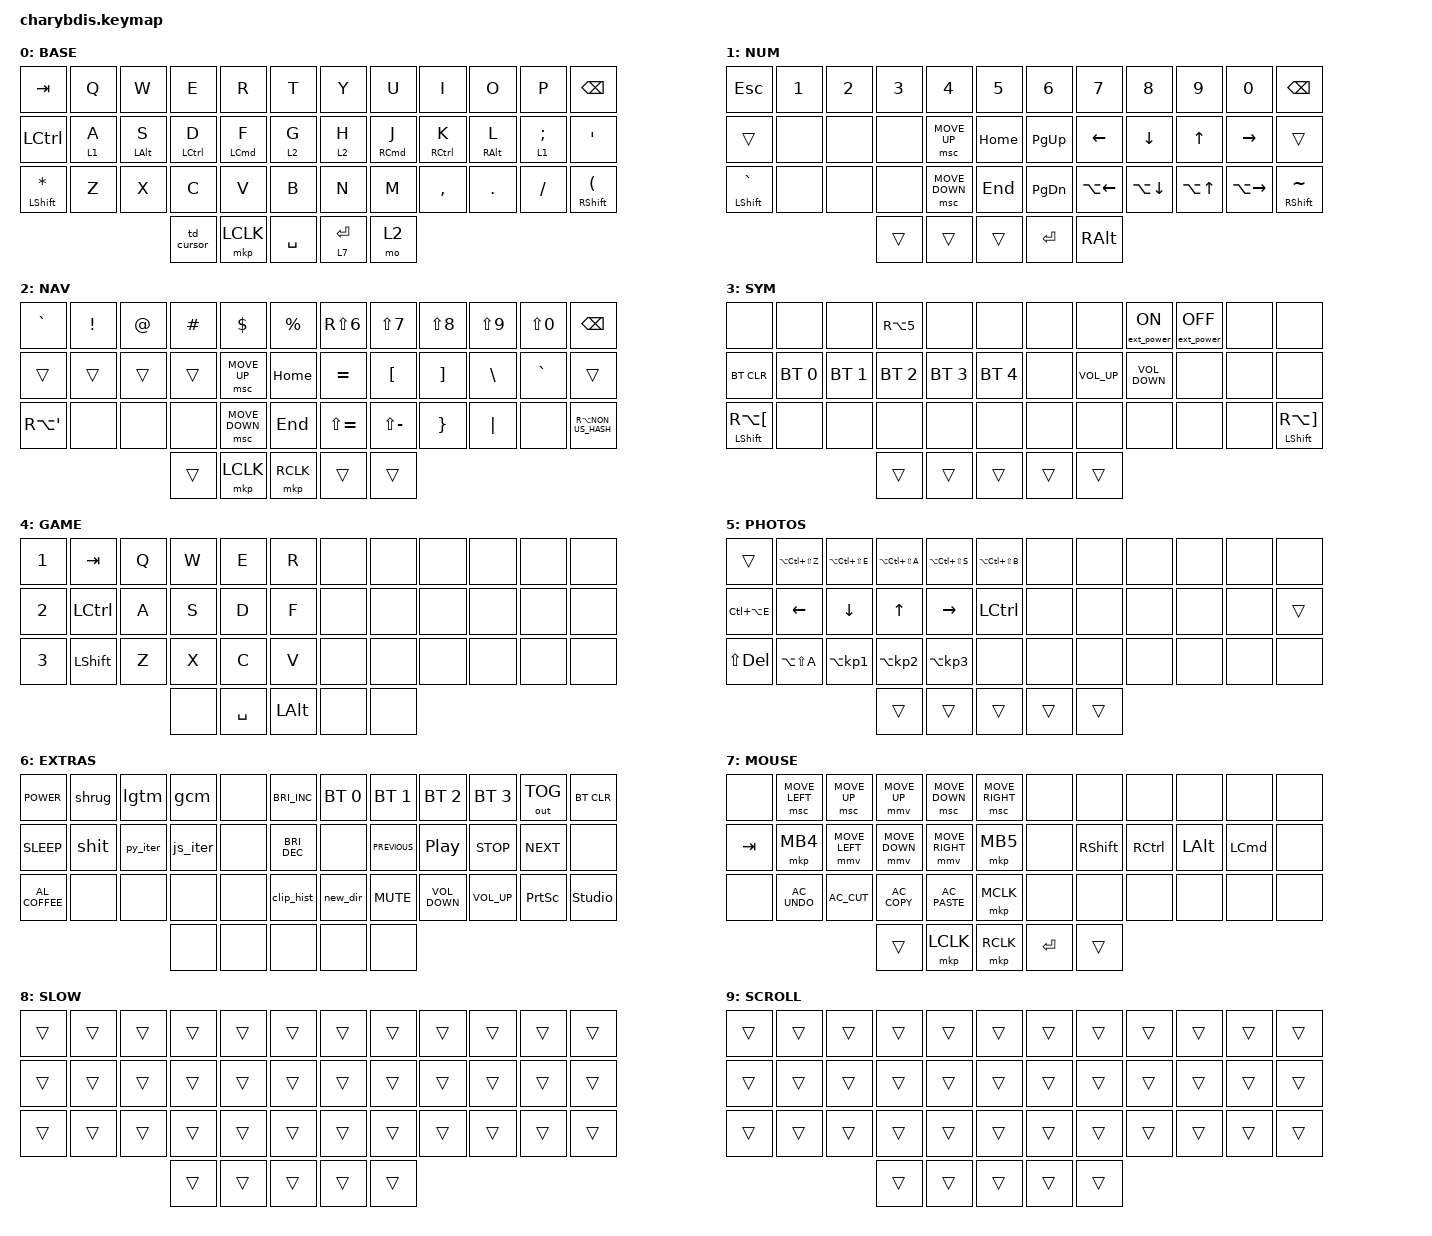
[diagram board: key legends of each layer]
#include <behaviors.dtsi>
#include <dt-bindings/zmk/bt.h>
#include <dt-bindings/zmk/keys.h>
#include <dt-bindings/zmk/mouse.h>
#include <dt-bindings/zmk/outputs.h>
#include <behaviors/mouse_keys.dtsi>
#include <dt-bindings/zmk/ext_power.h>
#include "macros.dtsi"

// / {
//     chosen { zmk,matrix_transform = &default_transform; };
// };

/ {
    conditional_layers {
        compatible = "zmk,conditional-layers";

        Third_Layer {
            if-layers = <1 2>;
            then-layer = <3>;
            if-layers = <2 1>;
            then-layer = <3>;
        };
    };

    /* input config for mouse move mode */
    trackball_listener {
        compatible = "zmk,input-behavior-listener";
        device = <&vtrackball>;
        layers = <0 2 7>;
        evt-type = <INPUT_EV_REL>;
        x-input-code = <INPUT_REL_X>;
        y-input-code = <INPUT_REL_Y>;
        scale-multiplier = <1>;
        scale-divisor = <2>;
        // bindings = <&ib_toggle_layer 7>;
    };

    /* input config for snipe mode */
    trackball_snipe_listener {
        compatible = "zmk,input-behavior-listener";   
        device = <&vtrackball>;
        layers = <8>;
        evt-type = <INPUT_EV_REL>;
        x-input-code = <INPUT_REL_X>;
        y-input-code = <INPUT_REL_Y>;
        scale-multiplier = <1>;
        scale-divisor = <4>;
    };

    /* input config for mouse scroll mode */
    trackball_scroll_listener {
        compatible = "zmk,input-behavior-listener";
        device = <&vtrackball>;
        layers = <9>;
        evt-type = <INPUT_EV_REL>;            
        x-input-code = <INPUT_REL_MISC>;
        y-input-code = <INPUT_REL_WHEEL>;
        y-invert;
        bindings = <&ib_wheel_scaler 1 14>;
    };

    /* define a resolution down scaler only for INPUT_REL_WHEEL */
    ib_wheel_scaler: ib_wheel_scaler {
        compatible = "zmk,input-behavior-scaler";
        #binding-cells = <2>;
        evt-type = <INPUT_EV_REL>;
        input-code = <INPUT_REL_WHEEL>;
    };

    /* adjust cooldown waiting period for mouse key layer after activated */
    ib_toggle_layer: ib_toggle_layer {
        compatible = "zmk,input-behavior-tog-layer";
        #binding-cells = <1>;
        time-to-live-ms = <750>;
    };

    behaviors {
        hm: homerow_mod {
            compatible = "zmk,behavior-hold-tap";
            #binding-cells = <2>;
            flavor = "tap-preferred";
            tapping-term-ms = <175>; // triggers the hold behavior when the tapping-term-ms has expired
            quick-tap-ms = <150>; // If you press a tapped hold-tap again within quick-tap-ms milliseconds of the first press, it will always trigger the tap behavior.
            require-prior-idle-ms = <185>; // like quick-tap-ms however it will apply for any non-modifier key pressed before it
            bindings = <&kp>, <&kp>;  // hold, tap
        };

        td_cursor: td_scroll_or_cursor {
            compatible = "zmk,behavior-tap-dance";
            #binding-cells = <0>;
            bindings = <&lt 9 ESC>, <&to 8>; // hold, tap, double_tap
        };

        httl: ht_two_layers {
            compatible = "zmk,behavior-hold-tap";
            bindings = <&mo>, <&to>;
            #binding-cells = <2>;
            flavor = "balanced";
            tapping-term-ms = <125>;
        };

        td_layers: td_layer_swap {
            compatible = "zmk,behavior-tap-dance";
            #binding-cells = <0>;
            bindings = <&to 0>, <&to 1>, <&to 2>; // tap, double_tap, tripple_tap
        };

        td_clk_scrl: td_click_or_scroll {
            compatible = "zmk,behavior-tap-dance";
            #binding-cells = <0>;
            tapping-term-ms = <250>;
            bindings = <&mkp RCLK>, <&mo 9>;  // tap/hold, double_tap
        };

        td_bore: BASE_or_EXTRA {
            compatible = "zmk,behavior-tap-dance";
            #binding-cells = <0>;
            bindings = <&mo 6>, <&to 0>;
        };
    };

    combos {
        compatible = "zmk,combos";

        CapsWord {
            bindings = <&caps_word>;
            key-positions = <17 18>;
            layers = <0>;
        };

        MiddleClick {
            bindings = <&mkp MCLK>;
            key-positions = <28 37>;
        };

        RightClick {
            bindings = <&mkp RCLK>;
            key-positions = <16 37>;
        };

        BASE_or_EXTRAS {
            bindings = <&td_bore>;
            key-positions = <38 39>;
        };

        // GameLayer {
        //     bindings = <&tog 4>;
        //     key-positions = <8 9>;
        // };

        // PhotoLayer {
        //     bindings = <&tog 5>;
        //     key-positions = <2 3>;
        // };
    };

// ╭──────┬──────┬──────┬──────┬──────┬──────╮  ╭──────┬──────┬──────┬──────┬──────┬──────╮
//    00     01     02     03    04      05        06     07     08     09     10     11
// ├──────┼──────┼──────┼──────┼──────┼──────┤  ├──────┼──────┼──────┼──────┼──────┼──────┤
//    12     13     14     15    16      17        18     19     20     21     22     23
// ├──────┼──────┼──────┼──────┼──────┼──────┤  ├──────┼──────┼──────┼──────┼──────┼──────┤
//    24     25     26     27    28      29        30     31     32     33     34     35
// ╰──────┴──────┴──────┼──────┼──────┼──────┤  ├──────┼──────┼──────┴──────┴──────┴──────╯
//                         36     37     38        39     40
//                      ╰──────┴──────┴──────╯  ╰──────┴──────╯

#define BASE    0
#define NUM     1
#define NAV     2
#define SYM     3
#define GAME    4
#define PHOTOS  5
#define EXTRAS  6
#define MOUSE   7
#define SLOW    8
#define SCROLL  9

    keymap {
        compatible = "zmk,keymap";
        BASE {
            bindings = <
// ╭────────────────┬──────────────┬─────────────────────────┬─────────────────────────────┬──────────────────┬──────────────────╮  ╭────────────────┬─────────────────┬──────────────────────────────────┬──────────────────────────────┬────────────────────────┬──────────────╮
    &kp TAB              &kp Q              &kp W                      &kp E                     &kp R              &kp T                 &kp Y           &kp U                   &kp I                             &kp O                        &kp P               &kp BACKSPACE
// ├────────────────┼──────────────┼─────────────────────────┼─────────────────────────────┼──────────────────┼──────────────────┤  ├────────────────┼─────────────────┼──────────────────────────────────┼──────────────────────────────┼────────────────────────┼──────────────┤
    &kp LCTRL            &lt 1 A          &hm LEFT_ALT S               &hm LCTRL D               &hm LCMD F        &lt 2 G                 &lt 2 H        &hm RCMD J              &hm RCTRL K                       &hm RIGHT_ALT L              &lt 1 SEMICOLON      &kp SQT
// ├────────────────┼──────────────┼─────────────────────────┼─────────────────────────────┼──────────────────┼──────────────────┤  ├────────────────┼─────────────────┼──────────────────────────────────┼──────────────────────────────┼────────────────────────┼──────────────┤
    &mt LEFT_SHIFT STAR  &kp Z              &kp X                      &kp C                     &kp V              &kp B                 &kp N           &kp M                   &kp COMMA                         &kp DOT                      &kp FSLH           &mt RSHIFT LPAR
// ╰────────────────┴──────────────┴─────────────────────────┼─────────────────────────────┼──────────────────┼──────────────────┤  ├────────────────┼─────────────────┼──────────────────────────────────┴──────────────────────────────┴────────────────────────┴──────────────╯
                                                                               &td_cursor    &mkp LCLK          &kp SPACE               &lt 7 ENTER     &mo 2
                                                                          // ╰─────────────┴──────────────────┴──────────────────╯  ╰────────────────┴──────────────╯
            >;
        };

        NUM {
            bindings = <
&kp ESCAPE &kp N1 &kp N2 &kp N3 &kp N4 &kp N5                       &kp N6 &kp N7 &kp N8 &kp N9 &kp N0 &kp BACKSPACE
&trans &none &none &none               &msc MOVE_UP &kp HOME        &kp PAGE_UP &kp LEFT_ARROW &kp DOWN_ARROW &kp UP_ARROW &kp RIGHT      &trans
&mt LEFT_SHIFT GRAVE &none &none &none &msc MOVE_DOWN &kp END       &kp PAGE_DOWN  &kp LA(LEFT_ARROW)  &kp LA(DOWN_ARROW)  &kp LA(UP_ARROW)  &kp LA(RIGHT)  &mt RIGHT_SHIFT TILDE
                            &trans &trans &trans                    &kp ENTER &kp RIGHT_ALT
            >;
        };

        NAV {
            bindings = <
&kp GRAVE     &kp EXCL  &kp AT  &kp HASH  &kp DOLLAR  &kp PERCENT             &kp RS(N6)     &kp LS(N7)        &kp LS(N8)         &kp LS(NUMBER_9)  &kp LS(N0)  &kp BACKSPACE
&trans        &trans    &trans  &trans    &msc MOVE_UP  &kp HOME          &kp EQUAL      &kp LEFT_BRACKET  &kp RIGHT_BRACKET  &kp BACKSLASH     &kp GRAVE   &trans
&kp RA(APOS)  &none     &none   &none     &msc MOVE_DOWN &kp END       &kp LS(EQUAL)  &kp LS(MINUS)     &kp RIGHT_BRACE    &kp PIPE          &none       &kp RA(NON_US_HASH)
                                &trans    &mkp LCLK   &mkp RCLK               &trans         &trans
            >;
        };

        SYM {
            bindings = <
&none                &none         &none         &kp RA(NUMBER_5)  &none         &none           &none   &none            &ext_power EP_ON   &ext_power EP_OFF  &none  &none
&bt BT_CLR           &bt BT_SEL 0  &bt BT_SEL 1  &bt BT_SEL 2      &bt BT_SEL 3  &bt BT_SEL 4    &none   &kp C_VOLUME_UP  &kp C_VOLUME_DOWN  &none              &none  &none
&mt LSHIFT RA(LBKT)  &none         &none         &none             &none         &none           &none   &none            &none              &none              &none  &mt LSHIFT RA(RBKT)
                                                 &trans            &trans        &trans          &trans  &trans
            >;
        };

        GAME {
            bindings = <
&kp N1  &kp TAB    &kp Q  &kp W   &kp E      &kp R           &none  &none  &none  &none  &none  &none
&kp N2  &kp LCTRL  &kp A  &kp S   &kp D      &kp F           &none  &none  &none  &none  &none  &none
&kp N3  &kp LSHFT  &kp Z  &kp X   &kp C      &kp V           &none  &none  &none  &none  &none  &none
                          &none   &kp SPACE  &kp LEFT_ALT    &none  &none
            >;
        };

        PHOTOS {
            bindings = <
&trans          &kp LA(LC(LS(Z)))  &kp LA(LC(LS(E)))  &kp LA(LC(LS(A)))  &kp LA(LC(LS(S)))  &kp LA(LC(LS(B)))    &none   &none   &none  &none  &none  &none
&kp LC(LA(E))   &kp LEFT           &kp DOWN           &kp UP             &kp RIGHT          &kp LCTRL            &none   &none   &none  &none  &none  &trans
&kp LS(DELETE)  &kp LA(LS(A))      &kp LA(KP_N1)      &kp LA(KP_N2)      &kp LA(KP_N3)      &none                &none   &none   &none  &none  &none  &none
                                                      &trans             &trans             &trans               &trans  &trans
            >;
        };

        EXTRAS {
            bindings = <
&kp C_POWER       &shrug  &lgtm     &gcm      &none  &kp C_BRIGHTNESS_INC    &bt BT_SEL 0  &bt BT_SEL 1    &bt BT_SEL 2       &bt BT_SEL 3  &out OUT_TOG     &bt BT_CLR
&kp C_SLEEP       &shit   &py_iter  &js_iter  &none  &kp C_BRIGHTNESS_DEC    &none         &kp C_PREVIOUS  &kp C_PLAY_PAUSE   &kp C_STOP    &kp C_NEXT       &none
&kp C_AL_COFFEE   &none   &none     &none     &none  &clip_hist              &new_dir      &kp K_MUTE      &kp C_VOLUME_DOWN  &kp C_VOLUME_UP   &kp PRINTSCREEN  &studio_unlock
                                    &none     &none  &none                   &none         &none
            >;
        };

        MOUSE {
            bindings = <
&none    &msc MOVE_LEFT  &msc MOVE_UP    &mmv MOVE_UP    &msc MOVE_DOWN   &msc MOVE_RIGHT    &none  &none            &none      &none         &none          &none
&kp TAB  &mkp MB4        &mmv MOVE_LEFT  &mmv MOVE_DOWN  &mmv MOVE_RIGHT  &mkp MB5           &none  &kp RIGHT_SHIFT  &kp RCTRL  &kp LEFT_ALT  &kp LCMD  &none
&none    &kp C_AC_UNDO   &kp C_AC_CUT    &kp C_AC_COPY   &kp C_AC_PASTE   &mkp MCLK          &none  &none            &none      &none         &none          &none
                                         &trans          &mkp LCLK        &mkp RCLK          &kp RETURN &trans
            >;
        };

        SLOW {
            bindings = <
&trans    &trans    &trans    &trans    &trans    &trans    &trans    &trans    &trans    &trans    &trans    &trans
&trans    &trans    &trans    &trans    &trans    &trans    &trans    &trans    &trans    &trans    &trans    &trans
&trans    &trans    &trans    &trans    &trans    &trans    &trans    &trans    &trans    &trans    &trans    &trans
                              &trans    &trans    &trans    &trans    &trans
            >;
        };

        SCROLL {
            bindings = <
&trans    &trans    &trans    &trans    &trans    &trans    &trans    &trans    &trans    &trans    &trans    &trans
&trans    &trans    &trans    &trans    &trans    &trans    &trans    &trans    &trans    &trans    &trans    &trans
&trans    &trans    &trans    &trans    &trans    &trans    &trans    &trans    &trans    &trans    &trans    &trans
                              &trans    &trans    &trans    &trans    &trans
            >;
        };
    };
};
